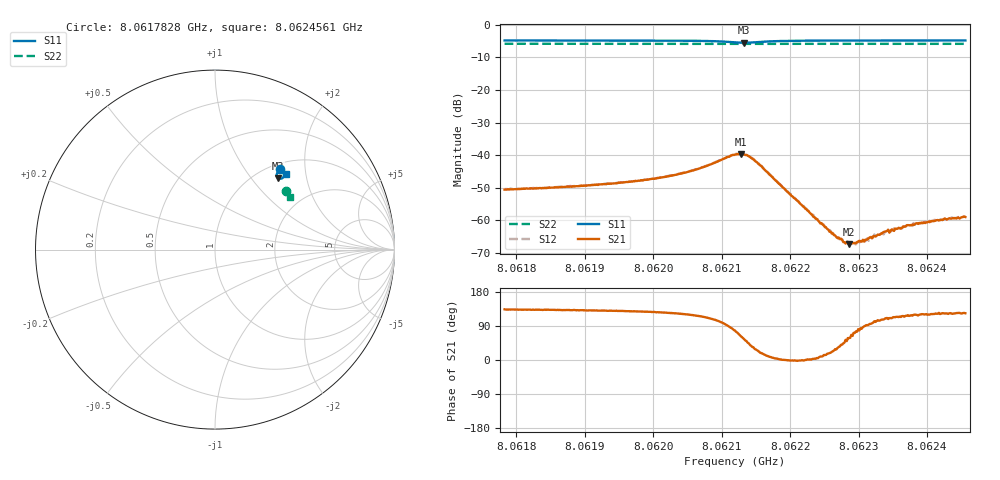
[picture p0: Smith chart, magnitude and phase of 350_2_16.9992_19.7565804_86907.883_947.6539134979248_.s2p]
#  HZ  S  RI  R  50.00
! Rohde & Schwarz Vector Network Analyzer
! Rohde-Schwarz,ZNB20-2Port,1311601062101988,3.16
! Created: UTC 3/20/2024, 11:07:47 PM
! freq[Hz]  re:S11  im:S11  re:S21  im:S21  re:S12  im:S12  re:S22  im:S22
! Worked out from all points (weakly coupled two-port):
!   401 points, 8.0617828 GHz to 8.0624561 GHz, reference 50 ohm
!   highest |S21| = -39.63 dB at 8.0621279 GHz (marker M1); lowest = -67.3 dB at 8.0622861 GHz (marker M2)
!   lowest |S11| = -5.5 dB at 8.0621329 GHz (marker M3), VSWR 3.27, Z = 61.7 + j68.7 ohm
!   |S11| at or under -10 dB: nowhere
!   |S22| runs from -5.9 to -5.8 dB; largest |S21 - S12| = 0.00073
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8.06178281e9  0.3631 0.4471  -0.00204 0.00214  -0.00195 0.00233  0.3961 0.3248
8.06189559e9  0.3707 0.4404  -0.00224 0.00254  -0.00211 0.00272  0.4003 0.3192
8.06194777e9  0.3746 0.4368  -0.00237 0.00288  -0.0022 0.00306  0.4021 0.3165
8.06200836e9  0.3796 0.4308  -0.00262 0.00362  -0.00243 0.00379  0.4045 0.3133
8.06206223e9  0.384 0.4208  -0.00277 0.00535  -0.00246 0.00555  0.4064 0.3102
8.06211946e9  0.367 0.3949  0.0022 0.01  0.00289 0.00993  0.4073 0.3066
8.06212787e9  0.3565 0.3961  0.00473 0.0093  0.00528 0.00916  0.4071 0.3064
8.06213292e9  0.3506 0.3995  0.00594 0.00841  0.0064 0.00809  0.4071 0.3065
8.06213965e9  0.3452 0.4067  0.00699 0.00668  0.00743 0.00613  0.4071 0.3065
8.06214975e9  0.3437 0.4187  0.00707 0.00374  0.00744 0.00339  0.4075 0.3067
8.06223223e9  0.3727 0.4346  0.0012 5.19e-05  0.00123 6.62e-06  0.4118 0.3031
8.06226926e9  0.3781 0.4324  0.000453 0.000282  0.000473 0.000271  0.4132 0.3011
8.06228104e9  0.3796 0.4316  0.000264 0.000353  0.000326 0.00036  0.4138 0.3005
8.06228609e9  0.38 0.4312  0.000232 0.000367  0.000267 0.000362  0.414 0.3002
8.06229283e9  0.3808 0.4308  0.00014 0.000423  0.000183 0.000358  0.4141 0.2997
8.06229619e9  0.3811 0.4306  0.000111 0.000434  0.000171 0.000393  0.4143 0.2997
8.06231134e9  0.3826 0.4297  -1.93e-05 0.000505  1.54e-05 0.000502  0.4149 0.2988
8.06232649e9  0.384 0.4288  -0.000133 0.000567  -0.00011 0.000574  0.4154 0.2979
8.06233996e9  0.3852 0.4279  -0.000235 0.000637  -0.000195 0.000643  0.4158 0.2973
8.06234501e9  0.3855 0.4274  -0.000227 0.000605  -0.000197 0.000647  0.4161 0.2971
8.06238372e9  0.3885 0.4253  -0.000437 0.000781  -0.000355 0.000805  0.4174 0.2951
8.0624561e9  0.3933 0.4211  -0.000621 0.000938  -0.00062 0.000972  0.42 0.2914
